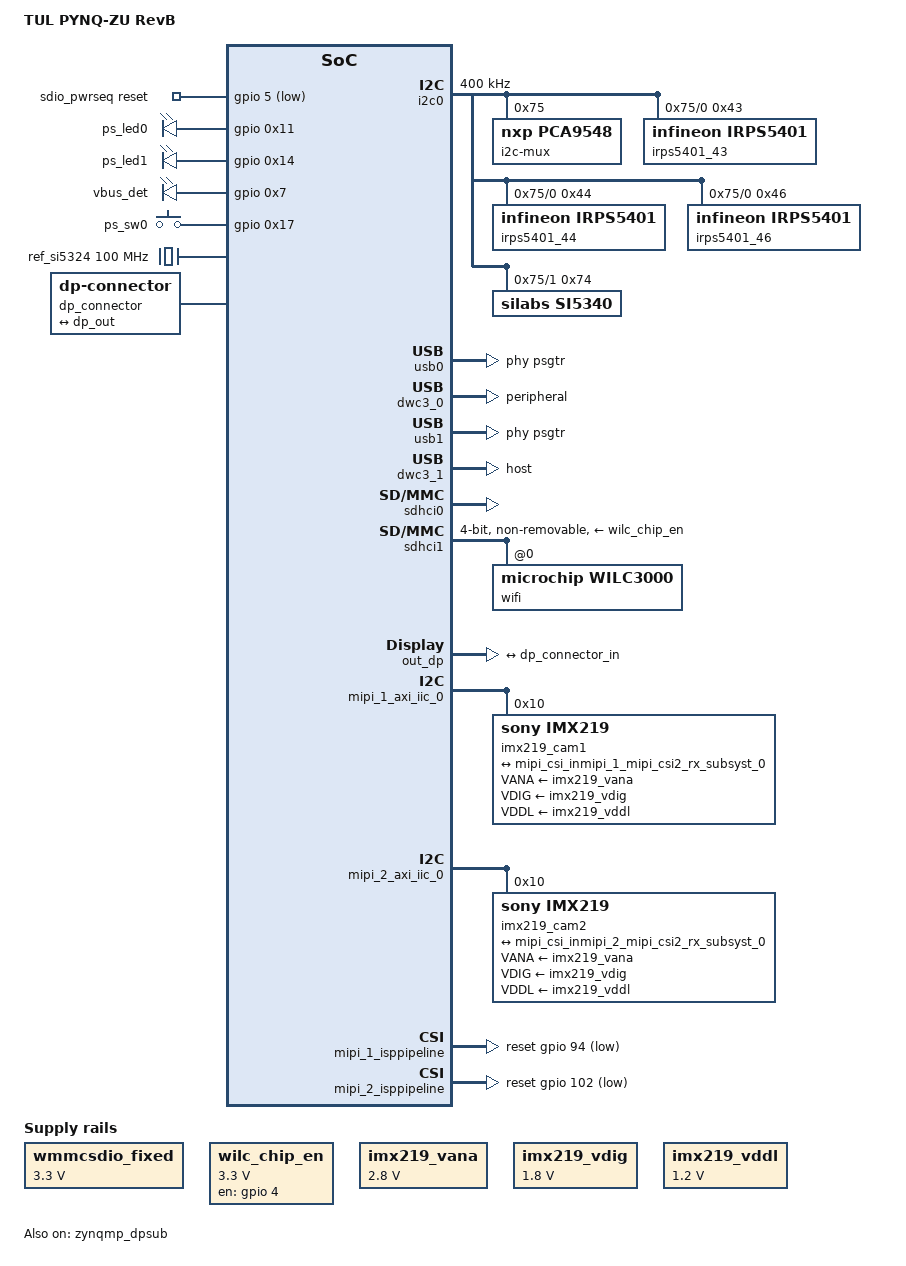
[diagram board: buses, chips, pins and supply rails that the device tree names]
// SPDX-License-Identifier: MIT
// Copyright (C) 2025-2026, Opsero Electronic Design Inc.  All rights reserved.

/*
 * SoC-side board fixups for pynqzu (ZynqMP), layered on top of the
 * gen-machineconf / lopper-generated Linux device tree (which already carries
 * the PS config and the design's PL hardware from the XSA). Scoped to the Linux
 * domain by device-tree.bbappend. Ported from the ZynqMP Hailo AI PetaLinux BSP.
 */

// Copyright (C) 2021 Xilinx, Inc
// SPDX-License-Identifier: BSD-3-Clause

/*
 * The EDF device-tree recipe sets KERNEL_INCLUDE="" so dt-bindings headers do
 * not resolve in the cpp preprocessing pass; inline the only macros used.
 */
/* From include/dt-bindings/phy/phy.h */
#define PHY_TYPE_USB3 4
/* From include/dt-bindings/clock/xlnx-zynqmp-clk.h (DP node clock refs) */
#define DP_VIDEO_REF 16
#define DP_AUDIO_REF 17

/ {
	model = "TUL PYNQ-ZU RevB";

	reserved-memory {
		#address-cells = <2>;
		#size-cells = <2>;
		ranges;

		linux,cma {
			linux,cma-default;
			compatible = "shared-dma-pool";
			alloc-ranges = <0x0 0x0 0x0 0x7ff00000>;
			size = <0x0 0x20000000>;
			alignment = <0x0 0x2000>;
			reusable;
		};
	};

	wmmcsdio_fixed:fixedregulator-mmcsdio {
		compatible = "regulator-fixed";
		regulator-name = "wmmcsdio_fixed";
		regulator-min-microvolt = <3300000>;
		regulator-max-microvolt = <3300000>;
		regulator-always-on;
		regulator-boot-on;
	};

	/*
	 * WILC3000 Wi-Fi (SDIO on PS SD1, MIO 46..51) power-up sequencing, done
	 * with stock kernel drivers (the PetaLinux BSP relied on a patched
	 * pwrseq_simple.c and a non-standard "chip_en-gpios" property):
	 *  - CHIP_EN = MIO4 (active high) is modelled as the SD1 vmmc supply, so
	 *    the MMC core raises it when it powers the card up (5 ms settle);
	 *  - RESETN  = MIO5 (active low) is held in reset by mmc-pwrseq-simple
	 *    until after vmmc is up, then released (10 ms before enumeration).
	 * Net order: RESETN low -> CHIP_EN high -> >=5 ms -> RESETN high, as the
	 * WILC3000 datasheet (and the PYNQ-ZU BSP's pwrseq patch) requires.
	 * GPIO flags are numeric (0 = active high, 1 = active low) because the EDF
	 * DT build has no dt-bindings include path.
	 */
	wilc_chip_en: regulator-wilc-chip-en {
		compatible = "regulator-fixed";
		regulator-name = "wilc_chip_en";
		regulator-min-microvolt = <3300000>;
		regulator-max-microvolt = <3300000>;
		gpio = <&gpio 4 0>;
		enable-active-high;
		startup-delay-us = <5000>;
		off-on-delay-us = <5000>;
	};

	sdio_pwrseq: sdio_pwrseq {
		compatible = "mmc-pwrseq-simple";
		/* MIO5 = WILC3000 RESETN, active low */
		reset-gpios = <&gpio 5 1>;
		post-power-on-delay-ms = <10>;
	};

	leds {
		compatible = "gpio-leds";

		ps_led0 {
			label = "ps_led0";
			gpios = <&gpio 0x11 0x0>;
			linux,default-trigger = "heartbeat";
		};

		ps_led1 {
			label = "ps_led1";
			gpios = <&gpio 0x14 0x0>;
			default-state = "on";
		};

		vbus_det {
			label = "vbus_det";
			gpios = <&gpio 0x7 0x0>;
			default-state = "on";
		};

	};

	gpio-keys {
		compatible = "gpio-keys";
		autorepeat;

		ps_sw0 {
			label = "ps_sw0";
			gpios = <&gpio 0x17 0x0>;
			linux,code = <0x74>;
			gpio-key,wakeup;
		};
	};

	dp_clk: psgtr_dp_clock {
		compatible = "fixed-clock";
		#clock-cells = <0x00>;
		clock-frequency = <27000000>;
	};

	usb_clk: psgtr_usb_clock {
		compatible = "fixed-clock";
		#clock-cells = <0x00>;
		clock-frequency = <26000000>;
	};

	dp_aclk: dp_aclk {
		compatible = "fixed-clock";
		#clock-cells = <0>;
		clock-frequency = <100000000>;
		clock-accuracy = <100>;
	};
	
	/* Repairing misc_clks as per Article number 000036480.
	 * The misc_clk_N numbering is assigned by the device-tree generator
	 * and differs between flows: the SDT (sdtgen/lopper) used by this
	 * Yocto flow numbers the block design's 250 MHz video clock
	 * (clk_wiz_0/clk_250M) misc_clk_0 and the 100 MHz AXI-Lite clock
	 * (clk_wiz_0/clk_100M) misc_clk_1 - the reverse of the PetaLinux
	 * (XSCT) numbering. The rates below must follow the SDT numbering
	 * (Yocto/<target>/sdt/pl.dtsi): the display clocking wizard's clk_in1
	 * is misc_clk_0, and the driver computes its MMCM settings from that
	 * rate, so a wrong value here leaves the wizard unlocked (and the
	 * VTC held in reset) at the first display mode set.
	 */
	/delete-node/ misc_clk_0;
	misc_clk_0: misc_clk_0 {
		#clock-cells = <0>;
		clock-frequency = <249997500>;
		compatible = "fixed-clock";
	};

	/delete-node/ misc_clk_1;
	misc_clk_1: misc_clk_1 {
		#clock-cells = <0>;
		clock-frequency = <99999000>;
		compatible = "fixed-clock";
	};

	/delete-node/ misc_clk_2;
	misc_clk_2: misc_clk_2 {
		#clock-cells = <0>;
		clock-frequency = <199998000>;
		compatible = "fixed-clock";
	};

	ref_si5324: ref_si5324 {
	    compatible = "fixed-clock";
	    #clock-cells = <0>;
	    clock-frequency = <100000000>;
	};
};

&i2c0 {
	status = "okay";
	clock-frequency = <400000>;

	i2c-mux@75 {
		compatible = "nxp,pca9548";
		#address-cells = <1>;
		#size-cells = <0>;
		reg = <0x75>;

		i2c@0 {
			#address-cells = <0x1>;
			#size-cells = <0x0>;
			reg = <0x0>;

			irps5401_43: irps5401@43 {
				#clock-cells = <0x0>;
				compatible = "infineon,irps5401";
				reg = <0x43>;
			};

			irps5401_44: irps5401@44 {
				#clock-cells = <0x0>;
				compatible = "infineon,irps5401";
				reg = <0x44>;
			};

			irps5401_46: irps5401@46 {
				#clock-cells = <0x0>;
				compatible = "infineon,irps5401";
				reg = <0x46>;
			};
		};

		i2c@1 {
			#address-cells = <0x1>;
			#size-cells = <0x0>;
			reg = <0x1>;
			si5340: clock-generator@74 {
				compatible = "silabs,si5340";
				reg = <0x74>;
			};
		};

		i2c@2 {
			#address-cells = <0x1>;
			#size-cells = <0x0>;
			reg = <0x2>;
			label = "AUDIO";
		};

		i2c@3 {
			#address-cells = <0x1>;
			#size-cells = <0x0>;
			reg = <0x3>;
			label = "RPICAM";
		};

		i2c@4 {
			#address-cells = <0x1>;
			#size-cells = <0x0>;
			reg = <0x4>;
			label = "SYZYGY";
		};

		i2c@5 {
			#address-cells = <0x1>;
			#size-cells = <0x0>;
			reg = <0x5>;
			label = "FMC";
		};

		i2c@6 {
			#address-cells = <0x1>;
			#size-cells = <0x0>;
			reg = <0x6>;
			label = "USB";
		};
	};
};

&psgtr {
	/* usb3, dp */
	#clock-cells = <0x01>;
	clocks = <&usb_clk>, <&dp_clk>;
	clock-names = "ref0", "ref1";
};

&usb0 {
	/* USB Gadget*/
	status = "okay";
	phys = <&psgtr 2 PHY_TYPE_USB3 0 0>;
	phy-names = "usb3-phy";
};

&dwc3_0 {
	status = "okay";
	dr_mode = "peripheral";
	label = "USB Gadget";
	maximum-speed = "super-speed";
	snps,usb2-lpm-disable;
	snps,usb3_lpm_capable;
	snps,dis_u2_susphy_quirk;
	snps,dis_u3_susphy_quirk;
};

&usb1 {
	// USB Hub
	status = "okay";
	phys = <&psgtr 3 PHY_TYPE_USB3 1 0>;
	phy-names = "usb3-phy";
};

&dwc3_1 {
	status = "okay";
	dr_mode = "host";
	label = "USB Hub";
	maximum-speed = "super-speed";
	snps,usb2-lpm-disable;
	snps,usb3_lpm_capable;
	snps,dis_u2_susphy_quirk;
	snps,dis_u3_susphy_quirk;
};

&sdhci0 {
	status = "okay";
	disable-wp;
	no-1-8-v;
};

&sdhci1 {
	status = "okay";
	max-frequency = <50000000>;
	broken-mmc-highspeed;
	disable-wp;
	non-removable;
	bus-width = <0x4>;
	mmc-pwrseq = <&sdio_pwrseq>;
	vmmc-supply = <&wilc_chip_en>;
	vqmmc-supply = <&wmmcsdio_fixed>;
	#address-cells = <0x1>;
	#size-cells = <0x0>;
	/*
	 * Microchip WILC3000 (in-tree wilc1000-sdio driver + WILC3000 backport
	 * patch). reg = <0> binds the node to the SDIO card, which is where the
	 * driver looks it up. SDIO in-band interrupts are used
	 * (CONFIG_WILC1000_HW_OOB_INTR is off), so no interrupt GPIO is wired.
	 */
	wifi@0 {
		compatible = "microchip,wilc3000", "microchip,wilc1000";
		reg = <0>;
	};
};

&zynqmp_dpsub {
    status = "okay";
    clocks = <&dp_aclk>,<&zynqmp_clk DP_AUDIO_REF>,<&zynqmp_clk DP_VIDEO_REF>,<&display_pipeline_clk_wiz_0 0>;
    clock-names = "dp_apb_clk", "dp_aud_clk","dp_vtc_pixel_clk_in","dp_live_video_in_clk";
    xlnx,bridge = <&display_pipeline_v_tc_0>;
};

/*
 * 2025.2 zynqmp-dpsub requires endpoints inside the auto-generated
 * &zynqmp_dpsub/ports/port@N children, not as stray port@0 nodes at the
 * dpsub root. Wire live_video (port@0) <-> v_mix CRTC and out_dp (port@5)
 * <-> dp-connector so the driver sees the live-video input and DP output
 * as connected. Note: pynqzu already declares psgtr refclks above (dp_clk
 * at "ref1") so we don't need to add a dp_phy_refclk fixed-clock here.
 */
&live_video {
    dp_encoder: endpoint {
        remote-endpoint = <&mixer_crtcdisplay_pipeline_v_mix_0>;
    };
};

&out_dp {
    dp_out: endpoint {
        remote-endpoint = <&dp_connector_in>;
    };
};

/ {
    dp_connector: dp-connector {
        compatible = "dp-connector";
        type = "full-size";
        port {
            dp_connector_in: endpoint {
                remote-endpoint = <&dp_out>;
            };
        };
    };
};

&amba_pl {
	imx219_clk: imx219_clk {
		#clock-cells = <0x0>;
		clock-frequency = <24000000>;
		compatible = "fixed-clock";
	};

	imx219_vana: fixedregulator@3 {
		compatible = "regulator-fixed";
		regulator-name = "imx219_vana";
		regulator-min-microvolt = <2800000>;
		regulator-max-microvolt = <2800000>;
		enable-active-high;
	};

	imx219_vdig: fixedregulator@4 {
		compatible = "regulator-fixed";
		regulator-name = "imx219_vdig";
		regulator-min-microvolt = <1800000>;
		regulator-max-microvolt = <1800000>;
	};

	imx219_vddl: fixedregulator@5 {
		compatible = "regulator-fixed";
		regulator-name = "imx219_vddl";
		regulator-min-microvolt = <1200000>;
		regulator-max-microvolt = <1200000>;
	};
};

/*
&hdmi_axi_iic {
	si5324: clock-generator@68 {
		status = "okay";
		compatible = "silabs,si5324";
		reg = <0x68>;
		#address-cells = <1>;
        #size-cells = <0>;
        #clock-cells = <1>;
        clocks = <&ref_si5324>;
        clock-names = "clkin2";
        
        fmc_si5324_clk: clk0@0 {
            reg = <0>;
            clock-frequency = <100000000>;
        };
	};
};
*/

&mipi_1_axi_iic_0 {
	imx219_cam1: sensor@10 {
		compatible = "sony,imx219";
		reg = <0x10>;
		clocks = <&imx219_clk>;
		VANA-supply = <&imx219_vana>;   /* 2.8v */
		VDIG-supply = <&imx219_vdig>;   /* 1.8v */
		VDDL-supply = <&imx219_vddl>;   /* 1.2v */

		port {
		     imx219_cam1_0: endpoint {
			remote-endpoint = <&mipi_csi_inmipi_1_mipi_csi2_rx_subsyst_0>;
			data-lanes = <1 2>;
			link-frequencies = /bits/ 64 <456000000>;
			};
		};
	};
};

&mipi_2_axi_iic_0 {
	imx219_cam2: sensor@10 {
		compatible = "sony,imx219";
		reg = <0x10>;
		clocks = <&imx219_clk>;
		VANA-supply = <&imx219_vana>;   /* 2.8v */
		VDIG-supply = <&imx219_vdig>;   /* 1.8v */
		VDDL-supply = <&imx219_vddl>;   /* 1.2v */

		port {
		     imx219_cam2_0: endpoint {
			remote-endpoint = <&mipi_csi_inmipi_2_mipi_csi2_rx_subsyst_0>;
			data-lanes = <1 2>;
			link-frequencies = /bits/ 64 <456000000>;
			};
		};
	};
};

&mipi_1_mipi_csi2_rx_subsyst_0 {
	xlnx,en-active-lanes;
};

&mipi_2_mipi_csi2_rx_subsyst_0 {
	xlnx,en-active-lanes;
};

&mipi_csi_inmipi_1_mipi_csi2_rx_subsyst_0 {
	remote-endpoint = <&imx219_cam1_0>;
};

&mipi_csi_inmipi_2_mipi_csi2_rx_subsyst_0 {
	remote-endpoint = <&imx219_cam2_0>;
};

&mipi_1_isppipeline {
	reset-gpios = <&gpio 94 1>;
	xlnx,max-height = /bits/ 16 <1232>;
	xlnx,max-width = /bits/ 16 <1920>;
	xlnx,rgain = /bits/ 16 <128>;
	xlnx,bgain = /bits/ 16 <210>;
	xlnx,pawb = /bits/ 16 <350>;
	xlnx,mode-reg = <1>;
};

&isppipeline_port0mipi_1_isppipeline {
	xlnx,video-width = <10>;
	xlnx,cfa-pattern = "rggb";
};

&isppipeline_port1mipi_1_isppipeline {
	xlnx,video-width = <8>;
	xlnx,cfa-pattern = "rggb";
};

&mipi_2_isppipeline {
	reset-gpios = <&gpio 102 1>;
	xlnx,max-height = /bits/ 16 <1232>;
	xlnx,max-width = /bits/ 16 <1920>;
	xlnx,rgain = /bits/ 16 <128>;
	xlnx,bgain = /bits/ 16 <210>;
	xlnx,pawb = /bits/ 16 <350>;
	xlnx,mode-reg = <1>;
};

&isppipeline_port0mipi_2_isppipeline {
	xlnx,video-width = <10>;
	xlnx,cfa-pattern = "rggb";
};

&isppipeline_port1mipi_2_isppipeline {
	xlnx,video-width = <8>;
	xlnx,cfa-pattern = "rggb";
};

&mipi_1_v_proc {
	compatible = "xlnx,v-vpss-scaler-2.2";
};

&mipi_2_v_proc {
	compatible = "xlnx,v-vpss-scaler-2.2";
};

&display_pipeline_clk_wiz_0 {
	#address-cells = <2>;
};

&mixer_crtcdisplay_pipeline_v_mix_0 {
	remote-endpoint = <&dp_encoder>;
};

&display_pipeline_v_mix_0 {
	xlnx,disp-bridge = <&zynqmp_dpsub>;
	/* 2025.2 xlnx-mixer driver requires xlnx,bridge (VTC timing bridge)
	 * and xlnx,video-format (0=RGB, 1=YUV444, 2=YUV422) on the v_mix
	 * node, otherwise probe fails. Primary layer is NV16, so output is
	 * YUV422. */
	xlnx,bridge = <&display_pipeline_v_tc_0>;
	xlnx,video-format = <2>;
};

&display_pipeline_v_tc_0 {
	compatible = "xlnx,bridge-v-tc-6.1";
	xlnx,pixels-per-clock = <1>;
};

&mipi_csi_port1mipi_1_mipi_csi2_rx_subsyst_0 {
	xlnx,cfa-pattern = "rggb";
	xlnx,video-format = <12>;
	xlnx,video-width = <8>;
};

&mipi_csi_port0mipi_1_mipi_csi2_rx_subsyst_0 {
	xlnx,cfa-pattern = "rggb";
	xlnx,video-format = <12>;
	xlnx,video-width = <8>;
};

&mipi_csi_port1mipi_2_mipi_csi2_rx_subsyst_0 {
	xlnx,cfa-pattern = "rggb";
	xlnx,video-format = <12>;
	xlnx,video-width = <8>;
};

&mipi_csi_port0mipi_2_mipi_csi2_rx_subsyst_0 {
	xlnx,cfa-pattern = "rggb";
	xlnx,video-format = <12>;
	xlnx,video-width = <8>;
};


/* 2025.2 gen-machineconf assigns port-number=0 to uart1, making ttyPS0 map
 * to uart1. Vitis bsp.yaml confirms this board uses psu_uart_0, so force
 * ttyPS0 back to uart0. */
&uart0 {
   port-number = <0>;
};
&uart1 {
   port-number = <1>;
};
/ {
   aliases {
      serial0 = &uart0;
      serial1 = &uart1;
   };
   chosen {
      stdout-path = "serial0:115200n8";
   };
};
